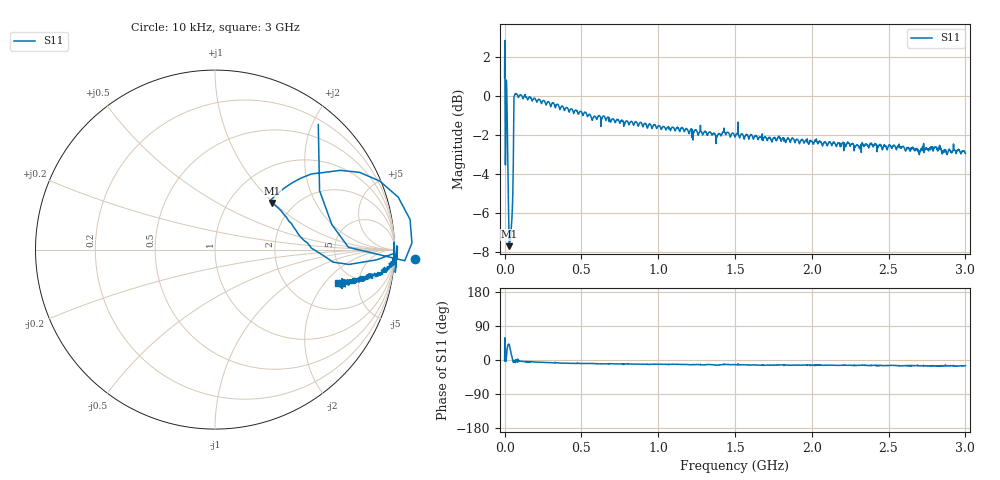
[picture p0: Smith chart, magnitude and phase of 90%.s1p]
# HZ S RI R 50
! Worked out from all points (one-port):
!   2020 points, 10 kHz to 3 GHz, reference 50 ohm
!   lowest |S11| = -7.7 dB at 31.21 MHz (marker M1), VSWR 2.40, Z = 78.4 + j49 ohm
!   |S11| at or under -10 dB: nowhere
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10000  1.116 -0.0526
5953516  0.6516 0.1381
1.635467e7  0.8055 0.4304
1.932643e7  0.6063 0.4296
2.378406e7  0.4287 0.3712
2.675582e7  0.3578 0.32
3.121346e7  0.32 0.2593
3.715698e7  0.3829 0.1974
4.310049e7  0.4381 0.1249
5.350164e7  0.5665 -0.00975
6.39028e7  1.003 -0.0388
7.133219e7  1.016 0.0169
7.578983e7  1.013 0.021
1.367109e8  0.9923 -0.0844
3.759374e8  0.9331 -0.1367
5.750452e8  0.8662 -0.1406
7.503789e8  0.8374 -0.1546
1.126306e9  0.8134 -0.1649
1.37742e9  0.7672 -0.182
1.438341e9  0.7828 -0.1621
1.500748e9  0.7669 -0.1688
1.875189e9  0.7588 -0.1828
2.251117e9  0.7258 -0.1795
2.625558e9  0.7095 -0.1945
2.827638e9  0.7068 -0.2169
2.884101e9  0.6891 -0.1878
2.939079e9  0.6893 -0.2032
3e9  0.688 -0.1855
